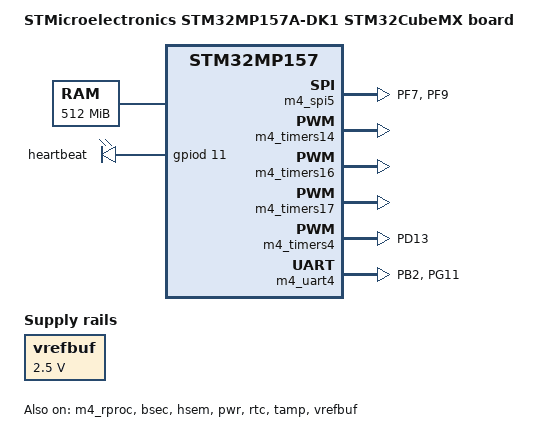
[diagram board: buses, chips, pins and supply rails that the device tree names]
/* SPDX-License-Identifier: (GPL-2.0+ OR BSD-3-Clause) */
/*
 * Copyright (C) STMicroelectronics 2020 - All Rights Reserved
 * Author: STM32CubeMX code generation for STMicroelectronics.
 */

/* For more information on Device Tree configuration, please refer to
 * https://wiki.st.com/stm32mpu/wiki/Category:Device_tree_configuration
 */

/dts-v1/;
#include "stm32mp157c.dtsi"
#include "stm32mp157cac-pinctrl.dtsi"
#include "stm32mp157c-m4-srm.dtsi"

/* USER CODE BEGIN includes */
#include <dt-bindings/input/input.h>
#include <dt-bindings/mfd/st,stpmic1.h>
#include <dt-bindings/rtc/rtc-stm32.h>
/* USER CODE END includes */

/ {
	model = "STMicroelectronics STM32MP157A-DK1 STM32CubeMX board";
	compatible = "st,stm32mp157a-test-mx", "st,stm32mp157";

	memory@c0000000 {
		reg = <0xc0000000 0x20000000>;

		/* USER CODE BEGIN memory */
		/* USER CODE END memory */
	};

	reserved-memory {
		#address-cells = <1>;
		#size-cells = <1>;
		ranges;

		/* USER CODE BEGIN reserved-memory */

		retram: retram@0x38000000 {
			compatible = "shared-dma-pool";
			reg = <0x38000000 0x10000>;
			no-map;
		};

		mcuram: mcuram@0x30000000 {
			compatible = "shared-dma-pool";
			reg = <0x30000000 0x40000>;
			no-map;
		};

		mcuram2: mcuram2@0x10000000 {
			compatible = "shared-dma-pool";
			reg = <0x10000000 0x40000>;
			no-map;
		};

		vdev0vring0: vdev0vring0@10040000 {
			compatible = "shared-dma-pool";
			reg = <0x10040000 0x2000>;
			no-map;
		};

		vdev0vring1: vdev0vring1@10042000 {
			compatible = "shared-dma-pool";
			reg = <0x10042000 0x2000>;
			no-map;
		};

		vdev0buffer: vdev0buffer@10044000 {
			compatible = "shared-dma-pool";
			reg = <0x10044000 0x4000>;
			no-map;
		};
		/* USER CODE END reserved-memory */

		gpu_reserved: gpu@d4000000 {
			reg = <0xd4000000 0x4000000>;
			no-map;
		};
	};

	/* USER CODE BEGIN root */
	aliases {
		ethernet0 = &ethernet0;
		serial0 = &uart4;
		serial1 = &usart3;
		serial2 = &uart7;
	};

	chosen {
		stdout-path = "serial0:115200n8";
	};

	sram: sram@10050000 {
		compatible = "mmio-sram";
		reg = <0x10050000 0x10000>;
		#address-cells = <1>;
		#size-cells = <1>;
		ranges = <0 0x10050000 0x10000>;

		dma_pool: dma_pool@0 {
			reg = <0x0 0x10000>;
			pool;
		};
	};

	led {
		compatible = "gpio-leds";
		blue {
			label = "heartbeat";
			gpios = <&gpiod 11 GPIO_ACTIVE_HIGH>;
			linux,default-trigger = "heartbeat";
			default-state = "off";
		};
	};

	sound {
		compatible = "audio-graph-card";
		label = "STM32MP1-DK";
		routing =
			"Playback" , "MCLK",
			"Capture" , "MCLK",
			"MICL" , "Mic Bias";
		dais = <&sai2a_port &sai2b_port &i2s2_port>;
		status = "okay";
	};

	usb_phy_tuning: usb-phy-tuning {
		st,hs-dc-level = <2>;
		st,fs-rftime-tuning;
		st,hs-rftime-reduction;
		st,hs-current-trim = <15>;
		st,hs-impedance-trim = <1>;
		st,squelch-level = <3>;
		st,hs-rx-offset = <2>;
		st,no-lsfs-sc;
	};

	/* USER CODE END root */

	clocks {
		/* USER CODE BEGIN clocks */
		/* USER CODE END clocks */

		clk_lsi: clk-lsi {
			clock-frequency = <32000>;
		};

		clk_hsi: clk-hsi {
			clock-frequency = <64000000>;
		};

		clk_csi: clk-csi {
			clock-frequency = <4000000>;
		};

		clk_lse: clk-lse {
			clock-frequency = <32768>;
		};

		clk_hse: clk-hse {
			clock-frequency = <24000000>;
		};
	};

}; /*root*/

&pinctrl {
	u-boot,dm-pre-reloc;

	m4_spi5_pins_mx: m4_spi5_mx-0 {
		pins {
			pinmux = <STM32_PINMUX('F', 7, RSVD)>, /* SPI5_SCK */
					 <STM32_PINMUX('F', 9, RSVD)>; /* SPI5_MOSI */
		};
	};

	m4_tim4_pwm_pins_mx: m4_tim4_pwm_mx-0 {
		pins {
			pinmux = <STM32_PINMUX('D', 13, RSVD)>; /* TIM4_CH2 */
		};
	};

	m4_uart4_pins_mx: m4_uart4_mx-0 {
		pins {
			pinmux = <STM32_PINMUX('B', 2, RSVD)>, /* UART4_RX */
					 <STM32_PINMUX('G', 11, RSVD)>; /* UART4_TX */
		};
	};

	/* USER CODE BEGIN pinctrl */
	/* USER CODE END pinctrl */
};

&pinctrl_z {
	u-boot,dm-pre-reloc;

	/* USER CODE BEGIN pinctrl_z */
	/* USER CODE END pinctrl_z */
};

&m4_rproc{
	/*Restriction: "memory-region" property is not managed - please to use User-Section if needed*/
	mboxes = <&ipcc 2>;
	mbox-names = "shutdown";
	recovery;
	status = "okay";

	/* USER CODE BEGIN m4_rproc */
	interrupt-parent = <&exti>;
	interrupts = <68 1>;
	interrupt-names = "wdg";
	wakeup-source;
	/* USER CODE END m4_rproc */

	m4_system_resources{
		status = "okay";

		/* USER CODE BEGIN m4_system_resources */
		/* USER CODE END m4_system_resources */
	};
};

&bsec{
	status = "okay";

	/* USER CODE BEGIN bsec */
	/* USER CODE END bsec */
};

&hsem{
	status = "okay";

	/* USER CODE BEGIN hsem */
	/* USER CODE END hsem */
};

&ipcc{
	status = "okay";

	/* USER CODE BEGIN ipcc */
	/* USER CODE END ipcc */
};

&m4_spi5{
	pinctrl-names = "default";
	pinctrl-0 = <&m4_spi5_pins_mx>;
	status = "okay";

	/* USER CODE BEGIN m4_spi5 */
	/* USER CODE END m4_spi5 */
};

&m4_timers14{
	status = "okay";

	/* USER CODE BEGIN m4_timers14 */
	/* USER CODE END m4_timers14 */
};

&m4_timers16{
	status = "okay";

	/* USER CODE BEGIN m4_timers16 */
	/* USER CODE END m4_timers16 */
};

&m4_timers17{
	status = "okay";

	/* USER CODE BEGIN m4_timers17 */
	/* USER CODE END m4_timers17 */
};

&m4_timers4{
	pinctrl-names = "default";
	pinctrl-0 = <&m4_tim4_pwm_pins_mx>;
	status = "okay";

	/* USER CODE BEGIN m4_timers4 */
	/* USER CODE END m4_timers4 */
};

&m4_uart4{
	pinctrl-names = "default";
	pinctrl-0 = <&m4_uart4_pins_mx>;
	status = "okay";

	/* USER CODE BEGIN m4_uart4 */
	/* USER CODE END m4_uart4 */
};

&pwr{
	status = "okay";

	/* USER CODE BEGIN pwr */
	pwr-regulators {
		vdd-supply = <&vdd>;
		vdd_3v3_usbfs-supply = <&vdd_usb>;
	};
	/* USER CODE END pwr */
};

&rcc{
	u-boot,dm-pre-reloc;
	status = "okay";

	/* USER CODE BEGIN rcc */
	/* USER CODE END rcc */
};

&rtc{
	status = "okay";

	/* USER CODE BEGIN rtc */
	/* USER CODE END rtc */
};

&tamp{
	status = "okay";

	/* USER CODE BEGIN tamp */
	/* USER CODE END tamp */
};

&vrefbuf{
	status = "okay";

	/* USER CODE BEGIN vrefbuf */
	regulator-min-microvolt = <2500000>;
	regulator-max-microvolt = <2500000>;
	vdda-supply = <&vdd>;
	/* USER CODE END vrefbuf */
};

/* USER CODE BEGIN addons */
&m4_rproc {
memory-region = <&retram>, <&mcuram>, <&mcuram2>, <&vdev0vring0>,
		<&vdev0vring1>, <&vdev0buffer>;
};

&adc {
	status = "disabled";
};

&cpu0{
	cpu-supply = <&vddcore>;
};

&cpu1{
	cpu-supply = <&vddcore>;
};

&dma1 {
	sram = <&dma_pool>;
};

&dma2 {
	sram = <&dma_pool>;
};
/* USER CODE END addons */

